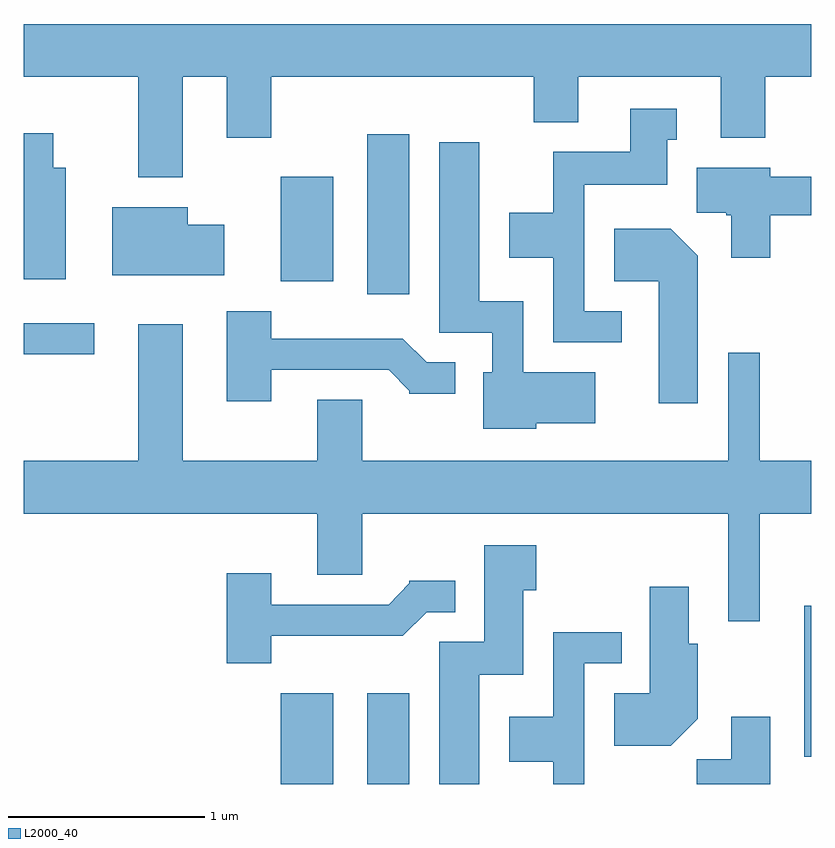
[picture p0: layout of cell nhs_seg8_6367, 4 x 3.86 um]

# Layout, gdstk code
import gdstk
lib = gdstk.Library(unit=1e-6, precision=1e-09)
def R(c, l, rs):  # rectangles x0, y0, x1, y1
    for r in rs: c.add(gdstk.rectangle(r[:2], r[2:], *l))
def P(c, l, *ps):  # polygons
    for p in ps: c.add(gdstk.Polygon(p, *l))
L2000_40 = (2000, 40)

nhs_seg8_6367 = lib.new_cell('nhs_seg8_6367')
R(nhs_seg8_6367, L2000_40, [(376.916,1868.342,377.184,1868.804), (377.356,1868.342,377.569,1868.804), (379.576,1868.481,379.611,1869.249), (375.611,1870.526,375.968,1870.684), (377.356,1870.831,377.569,1871.644), (376.916,1870.896,377.184,1871.429)])
P(nhs_seg8_6367, L2000_40, [(376.419,1871.936),(376.641,1871.936),(376.641,1871.626),(376.869,1871.626),(376.869,1871.936),(378.201,1871.936),(378.201,1871.706),(378.429,1871.706),(378.429,1871.936),(379.151,1871.936),(379.151,1871.626),(379.379,1871.626),(379.379,1871.936),(379.611,1871.936),(379.611,1872.204),(375.611,1872.204),(375.611,1871.936),(376.191,1871.936),(376.191,1871.426),(376.419,1871.426)],
  [(378.648,1870.744),(378.459,1870.744),(378.459,1871.386),(378.879,1871.386),(378.879,1871.616),(378.928,1871.616),(378.928,1871.774),(378.691,1871.774),(378.691,1871.554),(378.301,1871.554),(378.301,1871.244),(378.076,1871.244),(378.076,1871.016),(378.301,1871.016),(378.301,1870.586),(378.648,1870.586)],
  [(375.824,1871.474),(375.759,1871.474),(375.759,1871.649),(375.611,1871.649),(375.611,1870.906),(375.824,1870.906)],
  [(378.214,1870.176),(378.514,1870.176),(378.514,1870.434),(378.149,1870.434),(378.149,1870.794),(377.924,1870.794),(377.924,1871.604),(377.721,1871.604),(377.721,1870.636),(377.991,1870.636),(377.991,1870.434),(377.946,1870.434),(377.946,1870.146),(378.214,1870.146)],
  [(379.404,1871.231),(379.611,1871.231),(379.611,1871.429),(379.404,1871.429),(379.404,1871.474),(379.031,1871.474),(379.031,1871.246),(379.18,1871.246),(379.18,1871.231),(379.206,1871.231),(379.206,1871.016),(379.404,1871.016)],
  [(376.629,1871.184),(376.444,1871.184),(376.444,1871.274),(376.061,1871.274),(376.061,1870.926),(376.629,1870.926)],
  [(379.034,1871.027),(378.897,1871.164),(378.611,1871.164),(378.611,1870.896),(378.836,1870.896),(378.836,1870.276),(379.034,1870.276)],
  [(376.869,1870.446),(377.464,1870.446),(377.57,1870.34),(377.57,1870.326),(377.803,1870.326),(377.803,1870.484),(377.657,1870.484),(377.537,1870.604),(376.869,1870.604),(376.869,1870.744),(376.641,1870.744),(376.641,1870.286),(376.869,1870.286)],
  [(379.349,1869.716),(379.611,1869.716),(379.611,1869.984),(379.349,1869.984),(379.349,1870.533),(379.191,1870.533),(379.191,1869.984),(377.329,1869.984),(377.329,1870.294),(377.101,1870.294),(377.101,1869.984),(376.419,1869.984),(376.419,1870.679),(376.191,1870.679),(376.191,1869.984),(375.611,1869.984),(375.611,1869.716),(377.101,1869.716),(377.101,1869.406),(377.329,1869.406),(377.329,1869.716),(379.191,1869.716),(379.191,1869.168),(379.349,1869.168)],
  [(377.924,1868.896),(378.149,1868.896),(378.149,1869.326),(378.214,1869.326),(378.214,1869.554),(377.951,1869.554),(377.951,1869.064),(377.721,1869.064),(377.721,1868.342),(377.924,1868.342)],
  [(376.869,1869.096),(377.537,1869.096),(377.657,1869.216),(377.803,1869.216),(377.803,1869.374),(377.57,1869.374),(377.57,1869.361),(377.464,1869.254),(376.869,1869.254),(376.869,1869.414),(376.641,1869.414),(376.641,1868.956),(376.869,1868.956)],
  [(379.034,1868.674),(379.034,1869.054),(378.989,1869.054),(378.989,1869.344),(378.791,1869.344),(378.791,1868.804),(378.611,1868.804),(378.611,1868.536),(378.897,1868.536)],
  [(378.459,1868.956),(378.648,1868.956),(378.648,1869.114),(378.301,1869.114),(378.301,1868.684),(378.076,1868.684),(378.076,1868.456),(378.301,1868.456),(378.301,1868.342),(378.459,1868.342)],
  [(379.404,1868.684),(379.206,1868.684),(379.206,1868.469),(379.031,1868.469),(379.031,1868.342),(379.404,1868.342)])

lib.write_gds('nhs_seg8_6367.gds')
